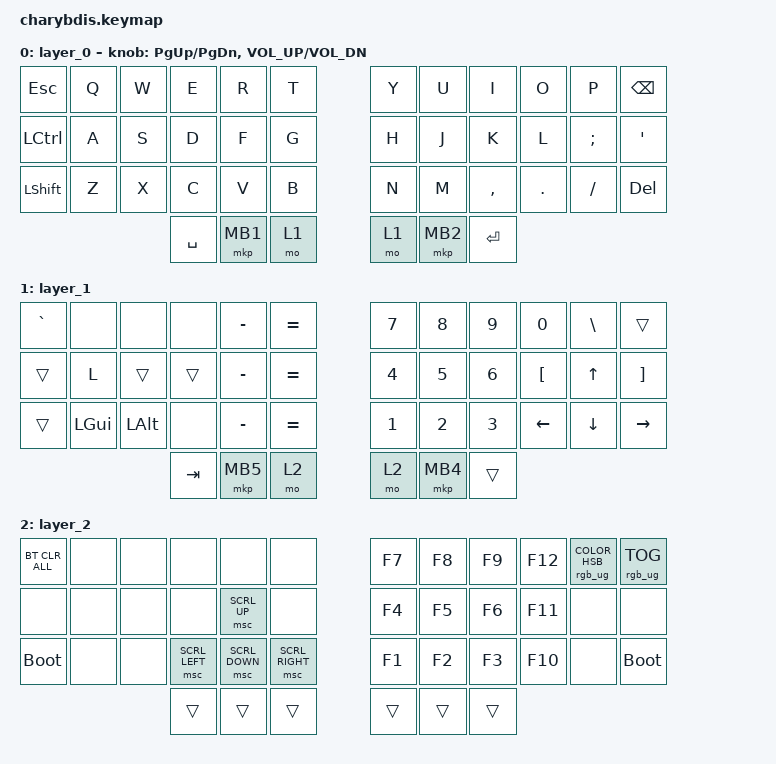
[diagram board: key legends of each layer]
#include <behaviors.dtsi>
#include <dt-bindings/zmk/bt.h>
#include <dt-bindings/zmk/keys.h>
#include <dt-bindings/zmk/pointing.h>
#include <dt-bindings/zmk/rgb.h>

&lt {
    tapping-term-ms = <200>;
    flavor = "balanced";
    quick-tap-ms = <150>;
};

/ {
    macros {
        To1_macro: To1_macro {
            compatible = "zmk,behavior-macro";
            label = "To1_macro";
            #binding-cells = <0>;
            bindings = <&rgb_ug RGB_EFF &rgb_ug RGB_COLOR_HSB(128,100,50) &to 1>;
        };

        To0_macro: To0_macro {
            compatible = "zmk,behavior-macro";
            label = "To0_macro";
            #binding-cells = <0>;
            bindings = <&rgb_ug RGB_EFR &to 0>;
        };

        To2_macro: To2_macro {
            compatible = "zmk,behavior-macro";
            label = "To2_macro";
            #binding-cells = <0>;
            bindings =
                <&to 0>,
                <&macro_wait_time 30>,
                <&rgb_ug RGB_COLOR_HSB(250,100,50)>;
        };
    };

    keymap {
        compatible = "zmk,keymap";

        layer_0 {
            bindings = <
&kp ESC    &kp Q  &kp W  &kp E      &kp R     &kp T    &kp Y  &kp U     &kp I      &kp O    &kp P     &kp BSPC
&kp LCTRL  &kp A  &kp S  &kp D      &kp F     &kp G    &kp H  &kp J     &kp K      &kp L    &kp SEMI  &kp APOS
&kp LSHFT  &kp Z  &kp X  &kp C      &kp V     &kp B    &kp N  &kp M     &kp COMMA  &kp DOT  &kp FSLH  &kp DEL
                         &kp SPACE  &mkp MB1  &mo 1    &mo 1  &mkp MB2  &kp ENTER
            >;

            sensor-bindings = <&inc_dec_kp PG_UP PG_DN &inc_dec_kp C_VOL_UP C_VOL_DN>;
        };

        layer_1 {
            bindings = <
&kp GRAVE  &none         &none     &none    &kp MINUS  &kp EQUAL    &kp N7  &kp N8    &kp N9  &kp N0    &kp BACKSLASH  &trans
&trans     &kp L         &trans    &trans   &kp MINUS  &kp EQUAL    &kp N4  &kp N5    &kp N6  &kp LBKT  &kp UP         &kp RBKT
&trans     &kp LEFT_GUI  &kp LALT  &none    &kp MINUS  &kp EQUAL    &kp N1  &kp N2    &kp N3  &kp LEFT  &kp DOWN       &kp RIGHT
                                   &kp TAB  &mkp MB5   &mo 2        &mo 2   &mkp MB4  &trans
            >;
        };

        layer_2 {
            bindings = <
&bt BT_CLR_ALL  &none  &none  &none           &none           &none              &kp F7  &kp F8  &kp F9  &kp F12  &rgb_ug RGB_COLOR_HSB(0,0,100)  &rgb_ug RGB_TOG
&none           &none  &none  &none           &msc SCRL_UP    &none              &kp F4  &kp F5  &kp F6  &kp F11  &none                           &none
&bootloader     &none  &none  &msc SCRL_LEFT  &msc SCRL_DOWN  &msc SCRL_RIGHT    &kp F1  &kp F2  &kp F3  &kp F10  &none                           &bootloader
                              &trans          &trans          &trans             &trans  &trans  &trans
            >;
        };
    };
};
